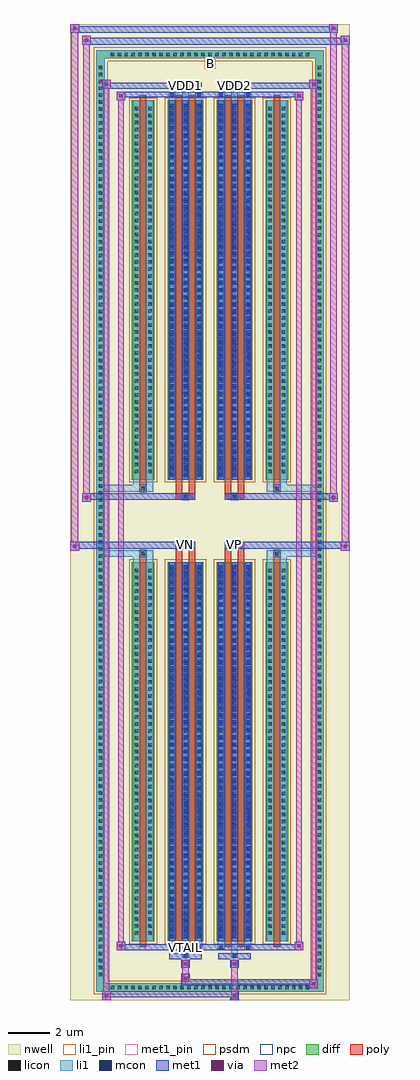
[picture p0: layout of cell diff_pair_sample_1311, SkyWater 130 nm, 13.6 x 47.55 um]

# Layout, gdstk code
import gdstk
lib = gdstk.Library(unit=1e-6, precision=5e-09)
def R(c, l, rs):  # rectangles x0, y0, x1, y1
    for r in rs: c.add(gdstk.rectangle(r[:2], r[2:], *l))
def A(c, l, x, y, w, h, nx, ny, dx, dy):  # array of equal rectangles
    R(c, l, [(x+i*dx, y+j*dy, x+i*dx+w, y+j*dy+h) for i in range(nx) for j in range(ny)])
def P(c, l, *ps):  # polygons
    for p in ps: c.add(gdstk.Polygon(p, *l))
nwell = (64, 20)
diff = (65, 20)
poly = (66, 20)
licon = (66, 44)
li1_pin = (67, 16)
li1 = (67, 20)
mcon = (67, 44)
met1_pin = (68, 16)
met1 = (68, 20)
via = (68, 44)
met2 = (69, 20)
psdm = (94, 20)
npc = (95, 20)

diff_pair_sample_1311 = lib.new_cell('diff_pair_sample_1311')
R(diff_pair_sample_1311, nwell, [(-6.8,-23.34,6.8,24.21), (-4.12,-21.53,-0.01,-0.825), (0.01,-21.53,4.12,-0.825), (-4.12,0.825,-0.01,21.53), (0.01,0.825,4.12,21.53)])
A(diff_pair_sample_1311, diff, -4.965, -22.94, 0.41, 0.41, 29, 2, 0.34, 45.47)
A(diff_pair_sample_1311, diff, -5.53, -22.305, 0.41, 0.41, 1, 131, 0, 0.34)
A(diff_pair_sample_1311, diff, 5.12, -22.305, 0.41, 0.41, 1, 131, 0, 0.34)
R(diff_pair_sample_1311, diff, [(-4.965,-22.94,4.965,-22.53), (-5.53,-22.305,-5.12,22.305), (5.12,-22.305,5.53,22.305), (-3.81,-20.485,-2.71,-2.005), (-2.07,-20.485,-0.32,-2.005), (0.32,-20.485,2.07,-2.005), (2.71,-20.485,3.81,-2.005), (-3.81,2.005,-2.71,20.485), (-2.07,2.005,-0.32,20.485), (0.32,2.005,2.07,20.485), (2.71,2.005,3.81,20.485), (-4.965,22.53,4.965,22.94)])
P(diff_pair_sample_1311, diff, [(5.53,22.94),(-5.53,22.94),(-5.53,-22.53),(-5.12,-22.53),(-5.12,22.53),(5.12,22.53),(5.12,-22.53),(-5.12,-22.53),(-5.53,-22.53),(-5.53,-22.94),(5.53,-22.94)])
R(diff_pair_sample_1311, poly, [(-3.42,-20.735,-3.1,-1.755), (-1.68,-20.735,-1.36,-1.755), (-1.03,-20.735,-0.71,-1.755), (0.71,-20.735,1.03,-1.755), (1.36,-20.735,1.68,-1.755), (3.1,-20.735,3.42,-1.755), (-3.425,-1.755,-3.095,-1.425), (-3.425,-1.755,-3.095,-1.425), (-1.68,-1.755,-1.36,-1.355), (-1.03,-1.755,-0.71,-1.355), (0.71,-1.755,1.03,-1.355), (1.36,-1.755,1.68,-1.355), (3.095,-1.755,3.425,-1.425), (3.095,-1.755,3.425,-1.425), (-1.68,-1.355,-0.71,-1.025), (-1.36,-1.355,-1.03,-1.025), (0.71,-1.355,1.68,-1.025), (1.03,-1.355,1.36,-1.025), (-1.68,1.025,-0.71,1.355), (-1.36,1.025,-1.03,1.355), (0.71,1.025,1.68,1.355), (1.03,1.025,1.36,1.355), (-1.68,1.355,-1.36,1.755), (-1.03,1.355,-0.71,1.755), (0.71,1.355,1.03,1.755), (1.36,1.355,1.68,1.755), (-3.425,1.425,-3.095,1.755), (-3.425,1.425,-3.095,1.755), (3.095,1.425,3.425,1.755), (3.095,1.425,3.425,1.755), (-3.42,1.755,-3.1,20.735), (-1.68,1.755,-1.36,20.735), (-1.03,1.755,-0.71,20.735), (0.71,1.755,1.03,20.735), (1.36,1.755,1.68,20.735), (3.1,1.755,3.42,20.735)])
A(diff_pair_sample_1311, licon, -4.845, -22.82, 0.17, 0.17, 29, 2, 0.34, 45.47)
A(diff_pair_sample_1311, licon, -5.41, -22.185, 0.17, 0.17, 1, 131, 0, 0.34)
A(diff_pair_sample_1311, licon, 5.24, -22.185, 0.17, 0.17, 1, 131, 0, 0.34)
A(diff_pair_sample_1311, licon, -3.67, -20.17, 0.17, 0.17, 1, 53, 0, 0.34)
A(diff_pair_sample_1311, licon, -3.02, -20.17, 0.17, 0.17, 1, 53, 0, 0.34)
A(diff_pair_sample_1311, licon, -1.93, -20.17, 0.17, 0.17, 3, 53, 0.65, 0.34)
A(diff_pair_sample_1311, licon, 0.46, -20.17, 0.17, 0.17, 3, 53, 0.65, 0.34)
A(diff_pair_sample_1311, licon, 2.85, -20.17, 0.17, 0.17, 1, 53, 0, 0.34)
A(diff_pair_sample_1311, licon, 3.5, -20.17, 0.17, 0.17, 1, 53, 0, 0.34)
A(diff_pair_sample_1311, licon, -3.67, 2.32, 0.17, 0.17, 1, 53, 0, 0.34)
A(diff_pair_sample_1311, licon, -3.02, 2.32, 0.17, 0.17, 1, 53, 0, 0.34)
A(diff_pair_sample_1311, licon, -1.93, 2.32, 0.17, 0.17, 3, 53, 0.65, 0.34)
A(diff_pair_sample_1311, licon, 0.46, 2.32, 0.17, 0.17, 3, 53, 0.65, 0.34)
A(diff_pair_sample_1311, licon, 2.85, 2.32, 0.17, 0.17, 1, 53, 0, 0.34)
A(diff_pair_sample_1311, licon, 3.5, 2.32, 0.17, 0.17, 1, 53, 0, 0.34)
R(diff_pair_sample_1311, licon, [(-3.345,-1.675,-3.175,-1.505), (3.175,-1.675,3.345,-1.505), (-1.28,-1.275,-1.11,-1.105), (1.11,-1.275,1.28,-1.105), (-1.28,1.105,-1.11,1.275), (1.11,1.105,1.28,1.275), (-3.345,1.505,-3.175,1.675), (3.175,1.505,3.345,1.675)])
R(diff_pair_sample_1311, li1_pin, [(-0.25,22.03,0.25,22.53)])
A(diff_pair_sample_1311, li1, -4.925, -22.9, 0.33, 0.33, 29, 2, 0.34, 45.47)
A(diff_pair_sample_1311, li1, -5.49, -22.265, 0.33, 0.33, 1, 131, 0, 0.34)
A(diff_pair_sample_1311, li1, 5.16, -22.265, 0.33, 0.33, 1, 131, 0, 0.34)
A(diff_pair_sample_1311, li1, -2.01, -20.485, 0.33, 18.48, 3, 2, 0.65, 22.49)
A(diff_pair_sample_1311, li1, 0.38, -20.485, 0.33, 18.48, 3, 2, 0.65, 22.49)
A(diff_pair_sample_1311, li1, -1.93, -20.33, 0.17, 0.17, 3, 51, 0.65, 0.36)
A(diff_pair_sample_1311, li1, -1.93, -20.33, 0.17, 18.17, 3, 2, 0.65, 22.49)
A(diff_pair_sample_1311, li1, 0.46, -20.33, 0.17, 0.17, 3, 51, 0.65, 0.36)
A(diff_pair_sample_1311, li1, 0.46, -20.33, 0.17, 18.17, 3, 2, 0.65, 22.49)
A(diff_pair_sample_1311, li1, -3.75, -20.25, 0.33, 0.33, 1, 53, 0, 0.34)
A(diff_pair_sample_1311, li1, -3.1, -20.25, 0.33, 0.33, 1, 53, 0, 0.34)
A(diff_pair_sample_1311, li1, -2.01, -20.25, 0.33, 0.33, 3, 53, 0.65, 0.34)
A(diff_pair_sample_1311, li1, 0.38, -20.25, 0.33, 0.33, 3, 53, 0.65, 0.34)
A(diff_pair_sample_1311, li1, 2.77, -20.25, 0.33, 0.33, 1, 53, 0, 0.34)
A(diff_pair_sample_1311, li1, 3.42, -20.25, 0.33, 0.33, 1, 53, 0, 0.34)
A(diff_pair_sample_1311, li1, -1.93, 2.16, 0.17, 0.17, 3, 51, 0.65, 0.36)
A(diff_pair_sample_1311, li1, 0.46, 2.16, 0.17, 0.17, 3, 51, 0.65, 0.36)
A(diff_pair_sample_1311, li1, -3.75, 2.24, 0.33, 0.33, 1, 53, 0, 0.34)
A(diff_pair_sample_1311, li1, -3.1, 2.24, 0.33, 0.33, 1, 53, 0, 0.34)
A(diff_pair_sample_1311, li1, -2.01, 2.24, 0.33, 0.33, 3, 53, 0.65, 0.34)
A(diff_pair_sample_1311, li1, 0.38, 2.24, 0.33, 0.33, 3, 53, 0.65, 0.34)
A(diff_pair_sample_1311, li1, 2.77, 2.24, 0.33, 0.33, 1, 53, 0, 0.34)
A(diff_pair_sample_1311, li1, 3.42, 2.24, 0.33, 0.33, 1, 53, 0, 0.34)
R(diff_pair_sample_1311, li1, [(-5.53,-22.94,-5.12,-22.53), (-5.53,-22.94,-5.12,-22.53), (-5.12,-22.94,5.12,-22.53), (5.12,-22.94,5.53,-22.53), (5.12,-22.94,5.53,-22.53), (-5.53,-22.53,-5.12,22.53), (5.12,-22.53,5.53,22.53), (-1.36,-21.29,-1.03,-20.485), (-1.28,-21.29,-1.11,-21.12), (1.03,-21.29,1.36,-20.485), (1.11,-21.29,1.28,-21.12), (-2.01,-20.86,-1.68,-20.485), (-1.93,-20.86,-1.76,-20.69), (-0.71,-20.86,-0.38,-20.485), (-0.63,-20.86,-0.46,-20.69), (0.38,-20.86,0.71,-20.485), (0.46,-20.86,0.63,-20.69), (1.68,-20.86,2.01,-20.485), (1.76,-20.86,1.93,-20.69), (-3.75,-20.485,-3.42,-2.005), (-3.1,-20.485,-2.77,-2.005), (2.77,-20.485,3.1,-2.005), (3.42,-20.485,3.75,-2.005), (-3.75,-2.005,-3.42,-1.425), (-3.1,-2.005,-2.77,-1.425), (2.77,-2.005,3.1,-1.425), (3.42,-2.005,3.75,-1.425), (-5.53,-1.755,-3.425,-1.425), (-3.75,-1.755,-3.425,-1.425), (-3.425,-1.755,-3.095,-1.425), (-3.095,-1.755,-2.77,-1.425), (2.77,-1.755,3.095,-1.425), (3.095,-1.755,3.425,-1.425), (3.095,-1.755,5.53,-1.425), (3.425,-1.755,3.75,-1.425), (-1.36,-1.355,-1.03,-1.025), (1.03,-1.355,1.36,-1.025), (-1.36,1.025,-1.03,1.355), (1.03,1.025,1.36,1.355), (-5.53,1.425,-3.425,1.755), (-3.75,1.425,-3.425,1.755), (-3.75,1.425,-3.42,2.005), (-3.425,1.425,-3.095,1.755), (-3.1,1.425,-2.77,2.005), (-3.095,1.425,-2.77,1.755), (2.77,1.425,3.095,1.755), (2.77,1.425,3.1,2.005), (3.095,1.425,3.425,1.755), (3.095,1.425,5.53,1.755), (3.42,1.425,3.75,2.005), (3.425,1.425,3.75,1.755), (-3.75,2.005,-3.42,20.485), (-3.1,2.005,-2.77,20.485), (2.77,2.005,3.1,20.485), (3.42,2.005,3.75,20.485), (-2.01,20.485,-1.68,20.86), (-1.36,20.485,-1.03,21.29), (-0.71,20.485,-0.38,20.86), (0.38,20.485,0.71,20.86), (1.03,20.485,1.36,21.29), (1.68,20.485,2.01,20.86), (-1.93,20.69,-1.76,20.86), (-0.63,20.69,-0.46,20.86), (0.46,20.69,0.63,20.86), (1.76,20.69,1.93,20.86), (-1.28,21.12,-1.11,21.29), (1.11,21.12,1.28,21.29), (-5.53,22.53,-5.12,22.94), (-5.53,22.53,-5.12,22.94), (-5.12,22.53,5.12,22.94), (5.12,22.53,5.53,22.94), (5.12,22.53,5.53,22.94)])
A(diff_pair_sample_1311, mcon, -1.93, -20.33, 0.17, 0.17, 3, 51, 0.65, 0.36)
A(diff_pair_sample_1311, mcon, 0.46, -20.33, 0.17, 0.17, 3, 51, 0.65, 0.36)
A(diff_pair_sample_1311, mcon, -1.93, 2.16, 0.17, 0.17, 3, 51, 0.65, 0.36)
A(diff_pair_sample_1311, mcon, 0.46, 2.16, 0.17, 0.17, 3, 51, 0.65, 0.36)
R(diff_pair_sample_1311, mcon, [(-1.28,-21.29,-1.11,-21.12), (1.11,-21.29,1.28,-21.12), (-1.93,-20.86,-1.76,-20.69), (-0.63,-20.86,-0.46,-20.69), (0.46,-20.86,0.63,-20.69), (1.76,-20.86,1.93,-20.69), (-1.28,-1.275,-1.11,-1.105), (1.11,-1.275,1.28,-1.105), (-1.28,1.105,-1.11,1.275), (1.11,1.105,1.28,1.275), (-1.93,20.69,-1.76,20.86), (-0.63,20.69,-0.46,20.86), (0.46,20.69,0.63,20.86), (1.76,20.69,1.93,20.86), (-1.28,21.12,-1.11,21.29), (1.11,21.12,1.28,21.29)])
R(diff_pair_sample_1311, met1_pin, [(-1.33,-20.9,-1.06,-20.63), (-1.33,-1.295,-1.06,-1.025), (1.06,-1.295,1.33,-1.025), (-1.33,21.08,-1.06,21.35), (1.06,21.08,1.33,21.35)])
A(diff_pair_sample_1311, met1, -1.99, -20.485, 0.29, 18.48, 3, 2, 0.65, 22.49)
A(diff_pair_sample_1311, met1, 0.4, -20.485, 0.29, 18.48, 3, 2, 0.65, 22.49)
A(diff_pair_sample_1311, met1, -1.99, -20.39, 0.29, 0.29, 3, 51, 0.65, 0.36)
A(diff_pair_sample_1311, met1, 0.4, -20.39, 0.29, 0.29, 3, 51, 0.65, 0.36)
A(diff_pair_sample_1311, met1, -1.99, 2.1, 0.29, 0.29, 3, 51, 0.65, 0.36)
A(diff_pair_sample_1311, met1, 0.4, 2.1, 0.29, 0.29, 3, 51, 0.65, 0.36)
R(diff_pair_sample_1311, met1, [(-5.26,-23.34,-4.83,-22.91), (0.98,-23.34,1.41,-22.91), (-5.26,-23.2,1.41,-22.91), (4.83,-22.77,5.26,-22.34), (-1.41,-22.63,5.26,-22.34), (-1.41,-22.49,-0.98,-22.06), (-1.41,-21.78,-0.98,-21.35), (0.98,-21.78,1.41,-21.35), (-1.99,-21.35,-0.4,-21.06), (-1.34,-21.35,-1.05,-21.06), (0.4,-21.35,1.99,-21.06), (1.05,-21.35,1.34,-21.06), (-4.55,-20.92,-4.12,-20.49), (-4.55,-20.92,-1.99,-20.63), (-1.99,-20.92,-1.7,-20.63), (-1.99,-20.92,-0.4,-20.63), (-0.69,-20.92,-0.4,-20.63), (-0.4,-20.92,0.4,-20.63), (0.4,-20.92,0.69,-20.63), (0.4,-20.92,1.99,-20.63), (1.7,-20.92,1.99,-20.63), (1.99,-20.92,4.55,-20.63), (4.12,-20.92,4.55,-20.49), (-6.8,-1.455,-6.37,-1.025), (6.37,-1.455,6.8,-1.025), (-6.8,-1.355,-0.71,-1.025), (-1.68,-1.355,-0.71,-1.025), (0.71,-1.355,1.68,-1.025), (0.71,-1.355,6.8,-1.025), (-1.34,-1.335,-1.05,-1.045), (1.05,-1.335,1.34,-1.045), (-6.23,0.925,-5.8,1.355), (5.8,0.925,6.23,1.355), (-6.23,1.025,-1.68,1.355), (-1.68,1.025,-0.71,1.355), (0.71,1.025,1.68,1.355), (1.68,1.025,6.23,1.355), (-1.34,1.045,-1.05,1.335), (1.05,1.045,1.34,1.335), (-4.55,20.49,-4.12,20.92), (4.12,20.49,4.55,20.92), (-4.55,20.63,-1.99,20.92), (-1.99,20.63,-1.7,20.92), (-1.99,20.63,-0.4,20.92), (-0.69,20.63,-0.4,20.92), (-0.4,20.63,0.4,20.92), (0.4,20.63,0.69,20.92), (0.4,20.63,1.99,20.92), (1.7,20.63,1.99,20.92), (1.99,20.63,4.55,20.92), (-5.26,21.06,-4.83,21.49), (-5.26,21.06,-1.99,21.35), (-1.99,21.06,-0.4,21.35), (-1.34,21.06,-1.05,21.35), (0.4,21.06,1.99,21.35), (1.05,21.06,1.34,21.35), (1.99,21.06,5.26,21.35), (4.83,21.06,5.26,21.49), (-6.23,23.21,-5.8,23.64), (-6.23,23.21,-4.12,23.54), (-4.12,23.21,4.12,23.54), (4.12,23.21,6.8,23.54), (6.37,23.21,6.8,23.64), (-6.8,23.78,-6.37,24.21), (-6.8,23.78,-4.12,24.11), (-4.12,23.78,4.12,24.11), (4.12,23.78,6.23,24.11), (5.8,23.78,6.23,24.21)])
R(diff_pair_sample_1311, via, [(-5.12,-23.2,-4.97,-23.05), (1.12,-23.2,1.27,-23.05), (4.97,-22.63,5.12,-22.48), (-1.27,-22.35,-1.12,-22.2), (-1.27,-21.64,-1.12,-21.49), (1.12,-21.64,1.27,-21.49), (-4.41,-20.78,-4.26,-20.63), (4.26,-20.78,4.41,-20.63), (-6.66,-1.315,-6.51,-1.165), (6.51,-1.315,6.66,-1.165), (-6.09,1.065,-5.94,1.215), (5.94,1.065,6.09,1.215), (-4.41,20.63,-4.26,20.78), (4.26,20.63,4.41,20.78), (-5.12,21.2,-4.97,21.35), (4.97,21.2,5.12,21.35), (-6.09,23.35,-5.94,23.5), (6.51,23.35,6.66,23.5), (-6.66,23.92,-6.51,24.07), (5.94,23.92,6.09,24.07)])
R(diff_pair_sample_1311, met2, [(-5.26,-23.34,-4.83,-22.91), (-5.19,-23.34,-4.9,21.49), (-4.9,-23.34,-4.83,-22.91), (-5.21,-23.29,-4.88,-22.96), (1.03,-23.29,1.36,-22.96), (1.03,-22.96,1.36,-21.73), (4.83,-22.77,5.26,-22.34), (4.9,-22.77,5.19,21.49), (5.19,-22.77,5.26,-22.34), (4.88,-22.72,5.21,-22.39), (-1.36,-22.44,-1.03,-22.11), (-1.36,-22.11,-1.03,-21.73), (-1.36,-21.73,-1.03,-21.4), (1.03,-21.73,1.36,-21.4), (-4.55,-20.92,-4.12,-20.49), (-4.48,-20.92,-4.19,20.92), (-4.19,-20.92,-4.12,-20.49), (4.12,-20.92,4.55,-20.49), (4.19,-20.92,4.48,20.92), (4.48,-20.92,4.55,-20.49), (-4.5,-20.87,-4.17,-20.54), (4.17,-20.87,4.5,-20.54), (-6.8,-1.455,-6.37,-1.025), (-6.75,-1.455,-6.42,24.21), (-6.42,-1.455,-6.37,-1.025), (6.37,-1.455,6.8,-1.025), (6.42,-1.455,6.75,23.64), (6.75,-1.455,6.8,-1.025), (-6.75,-1.405,-6.42,-1.075), (6.42,-1.405,6.75,-1.075), (-6.23,0.925,-5.8,1.355), (-6.18,0.925,-5.85,23.64), (-5.85,0.925,-5.8,1.355), (5.8,0.925,6.23,1.355), (5.85,0.925,6.18,24.21), (6.18,0.925,6.23,1.355), (-6.18,0.975,-5.85,1.305), (5.85,0.975,6.18,1.305), (-4.55,20.49,-4.12,20.92), (-4.19,20.49,-4.12,20.92), (4.12,20.49,4.55,20.92), (4.48,20.49,4.55,20.92), (-4.5,20.54,-4.17,20.87), (4.17,20.54,4.5,20.87), (-5.26,21.06,-4.83,21.49), (-4.9,21.06,-4.83,21.49), (4.83,21.06,5.26,21.49), (5.19,21.06,5.26,21.49), (-5.21,21.11,-4.88,21.44), (4.88,21.11,5.21,21.44), (-6.23,23.21,-5.8,23.64), (-5.85,23.21,-5.8,23.64), (6.37,23.21,6.8,23.64), (6.75,23.21,6.8,23.64), (-6.18,23.26,-5.85,23.59), (6.42,23.26,6.75,23.59), (-6.8,23.78,-6.37,24.21), (-6.42,23.78,-6.37,24.21), (5.8,23.78,6.23,24.21), (6.18,23.78,6.23,24.21), (-6.75,23.83,-6.42,24.16), (5.85,23.83,6.18,24.16)])
R(diff_pair_sample_1311, psdm, [(-3.94,-20.615,-2.58,-1.875), (-2.2,-20.615,-0.19,-1.875), (0.19,-20.615,2.2,-1.875), (2.58,-20.615,3.94,-1.875), (-3.94,1.875,-2.58,20.615), (-2.2,1.875,-0.19,20.615), (0.19,1.875,2.2,20.615), (2.58,1.875,3.94,20.615)])
P(diff_pair_sample_1311, psdm, [(5.66,23.07),(-5.66,23.07),(-5.66,-22.4),(-4.99,-22.4),(-4.99,22.4),(4.99,22.4),(4.99,-22.4),(-4.99,-22.4),(-5.66,-22.4),(-5.66,-23.07),(5.66,-23.07)])
R(diff_pair_sample_1311, npc, [(-3.445,-1.775,-3.075,-1.405), (3.075,-1.775,3.445,-1.405), (-1.38,-1.375,-1.01,-1.005), (1.01,-1.375,1.38,-1.005), (-1.38,1.005,-1.01,1.375), (1.01,1.005,1.38,1.375), (-3.445,1.405,-3.075,1.775), (3.075,1.405,3.445,1.775)])
diff_pair_sample_1311.add(gdstk.Label('VTAIL', (-1.195,-20.765), layer=68, texttype=5))
diff_pair_sample_1311.add(gdstk.Label('VN', (-1.195,-1.16), layer=68, texttype=5))
diff_pair_sample_1311.add(gdstk.Label('VP', (1.195,-1.16), layer=68, texttype=5))
diff_pair_sample_1311.add(gdstk.Label('B', (0,22.28), layer=67, texttype=5))
diff_pair_sample_1311.add(gdstk.Label('VDD2', (1.195,21.215), layer=68, texttype=5))
diff_pair_sample_1311.add(gdstk.Label('VDD1', (-1.195,21.215), layer=68, texttype=5))

lib.write_gds('diff_pair_sample_1311.gds')
